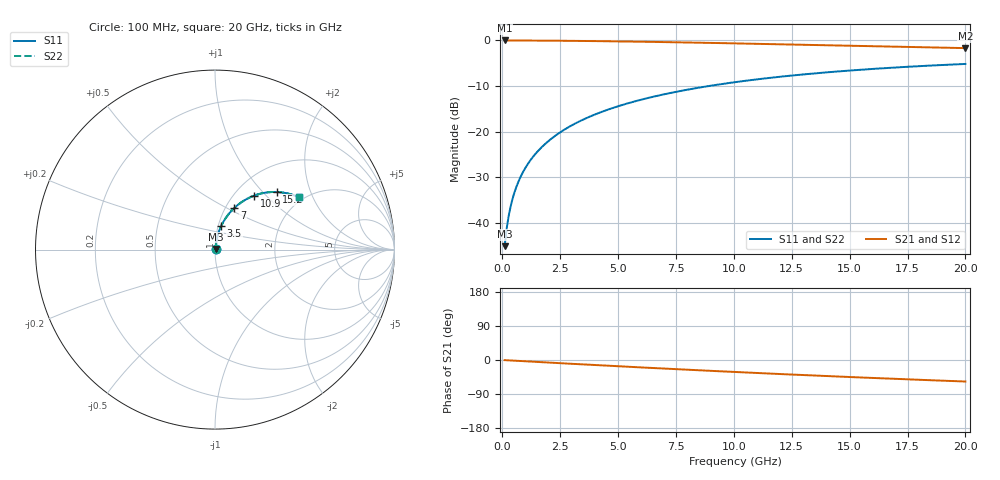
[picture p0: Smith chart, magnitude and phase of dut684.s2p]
! Touchstone file exported from HFSS 2026.1.0
!  File:  C:/ffzhzh/LocalFiles/Ansys_Project_Files/temp_train_TMRDL_684_1783010150_53980.aedt
!  Generated:  12:37:28 AM Jul  3, 2026
!  Design:  TMRDL
!  Project:  temp_train_TMRDL_684_1783010150_53980
! Variables:
!  h_bsmrdl = 2um
!  h_ox = 20um
!  h_rdl = 5um
!  h_sub = 80um
!  h_tmrdl = 5.44um
!  h_tsv = 80um
!  h_via = 3um
!  l_bsmrdl = 300um
!  l_sub = 1247.87um
!  l_tmrdl = 847.87um
!  m_sub = 200um
!  pitch = 51.66um
!  r_tsv = 6um
!  s_tmrdl = 10um
!  w_bsmrdl = 18um
!  w_sub = 500um
!  w_tmrdl = 15.25um
!  x_tsv_center1 = 855.495um
!  x_tsv_center2 = 1173.495um
!  x_tsv_center3 = 2036.615um
!  x_tsv_center4 = 2354.615um
!  x_tsv_center5 = 3217.735um
!  x_tsv_center6 = 3535.735um
# GHz S MA R 50.000000
! Terminal data exported
! Port[1] = TM_RDL1_1_T1
! Port[2] = TM_RDL1_1_T2
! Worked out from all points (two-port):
!   200 points, 100 MHz to 20 GHz, reference 50 ohm
!   highest |S21| = -0.03 dB at 100 MHz (marker M1); lowest = -1.7 dB at 20 GHz (marker M2)
!   |S21| within 3 dB of the highest: start of sweep to end of sweep
!   lowest |S11| = -45.1 dB at 100 MHz (marker M3), VSWR 1.01, Z = 50.4 + j0.416 ohm
!   |S11| at or under -10 dB: start of sweep to 8.941 GHz
!   |S22| runs from -45.1 to -5.2 dB; largest |S21 - S12| = 2.6e-14
!   S11 on the Smith chart (normalised r, x): 100 MHz: 1.01, +0.01; 3.5 GHz: 1.03, +0.28; 7 GHz: 1.10, +0.55; 10.9 GHz: 1.23, +0.86; 15.2 GHz: 1.46, +1.20; 20 GHz: 1.89, +1.58
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0.1  0.00555 48.1  0.9963 -0.3  0.9963 -0.3  0.00555 48.1
! Gamma 0 0 0 0
! Port Impedance 50 0 50 0
0.2  0.00907 64.5  0.9962 -0.7  0.9962 -0.7  0.00907 64.5
0.3  0.01286 71.1  0.996 -1.0  0.996 -1.0  0.01286 71.1
0.4  0.01671 74.6  0.9958 -1.4  0.9958 -1.4  0.01671 74.6
0.5  0.02059 76.7  0.9957 -1.7  0.9957 -1.7  0.02059 76.7
0.7  0.02837 78.9  0.9953 -2.4  0.9953 -2.4  0.02837 78.9
1  0.0401 80.2  0.9947 -3.4  0.9947 -3.4  0.0401 80.2
1.4  0.05573 80.3  0.9937 -4.7  0.9937 -4.7  0.05573 80.3
2  0.079 79.4  0.9916 -6.7  0.9916 -6.7  0.079 79.4
2.7  0.1057 77.7  0.9883 -9.1  0.9883 -9.1  0.1057 77.7
3.5  0.1356 75.4  0.9838 -11.7  0.9838 -11.7  0.1356 75.4
4.2  0.1611 73.3  0.9792 -13.9  0.9792 -13.9  0.1611 73.3
5  0.1894 70.9  0.9733 -16.5  0.9733 -16.5  0.1894 70.9
6.8  0.2501 65.6  0.9581 -22.0  0.9581 -22.0  0.2501 65.6
7  0.2565 65.0  0.9563 -22.7  0.9563 -22.7  0.2565 65.1
8.5  0.3032 60.7  0.9418 -27.1  0.9418 -27.1  0.3032 60.7
10.1  0.3492 56.3  0.9251 -31.8  0.9251 -31.8  0.3492 56.3
10.9  0.3708 54.1  0.9165 -34.0  0.9165 -34.0  0.3708 54.1
13.4  0.4321 47.5  0.889 -40.8  0.889 -40.8  0.4321 47.5
15.2  0.4704 43.0  0.8694 -45.4  0.8694 -45.4  0.4704 43.0
16.7  0.4988 39.4  0.8535 -49.1  0.8535 -49.1  0.4988 39.4
20  0.5509 31.9  0.8214 -56.8  0.8214 -56.8  0.5509 31.9
